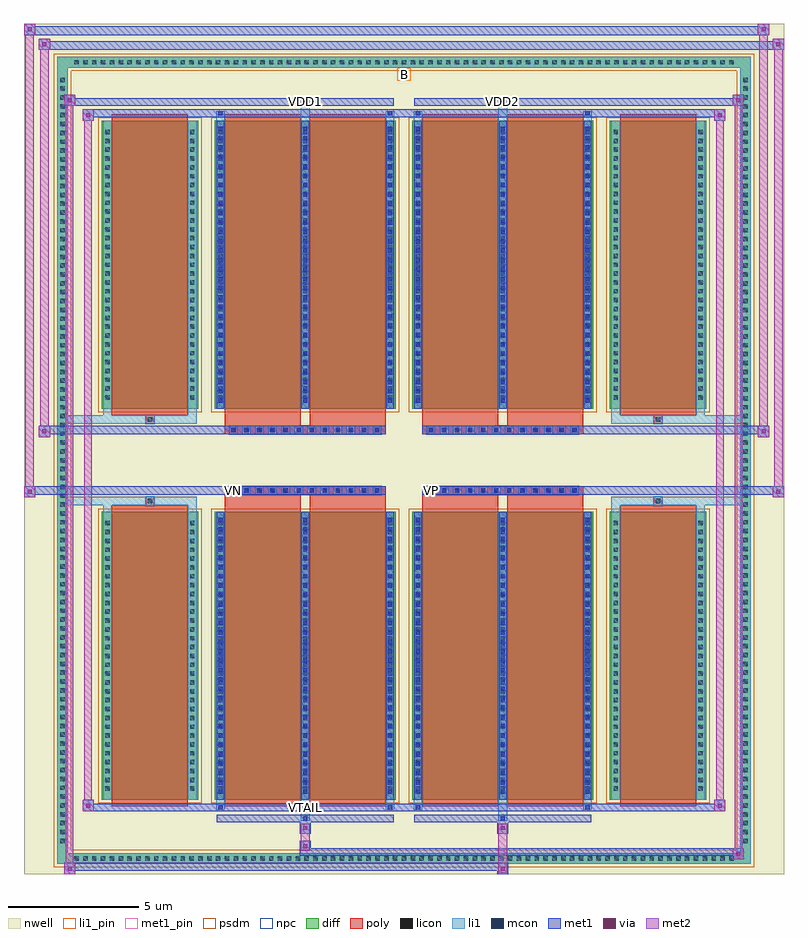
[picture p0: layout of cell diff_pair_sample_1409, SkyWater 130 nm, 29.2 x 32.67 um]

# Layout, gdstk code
import gdstk
lib = gdstk.Library(unit=1e-6, precision=5e-09)
def R(c, l, rs):  # rectangles x0, y0, x1, y1
    for r in rs: c.add(gdstk.rectangle(r[:2], r[2:], *l))
def A(c, l, x, y, w, h, nx, ny, dx, dy):  # array of equal rectangles
    R(c, l, [(x+i*dx, y+j*dy, x+i*dx+w, y+j*dy+h) for i in range(nx) for j in range(ny)])
def P(c, l, *ps):  # polygons
    for p in ps: c.add(gdstk.Polygon(p, *l))
nwell = (64, 20)
diff = (65, 20)
poly = (66, 20)
licon = (66, 44)
li1_pin = (67, 16)
li1 = (67, 20)
mcon = (67, 44)
met1_pin = (68, 16)
met1 = (68, 20)
via = (68, 44)
met2 = (69, 20)
psdm = (94, 20)
npc = (95, 20)

diff_pair_sample_1409 = lib.new_cell('diff_pair_sample_1409')
R(diff_pair_sample_1409, nwell, [(-14.6,-15.9,14.6,16.77), (-11.92,-14.09,-0.01,-0.795), (0.01,-14.09,11.92,-0.795), (-11.92,0.795,-0.01,14.09), (0.01,0.795,11.92,14.09)])
A(diff_pair_sample_1409, diff, -12.785, -15.5, 0.41, 0.41, 75, 2, 0.34, 30.59)
A(diff_pair_sample_1409, diff, -13.33, -14.825, 0.41, 0.41, 1, 87, 0, 0.34)
A(diff_pair_sample_1409, diff, 12.92, -14.825, 0.41, 0.41, 1, 87, 0, 0.34)
R(diff_pair_sample_1409, diff, [(-12.785,-15.5,12.785,-15.09), (-13.33,-14.825,-12.92,14.825), (12.92,-14.825,13.33,14.825), (-11.61,-13.045,-7.91,-1.985), (-7.27,-13.045,-0.32,-1.985), (0.32,-13.045,7.27,-1.985), (7.91,-13.045,11.61,-1.985), (-11.61,1.985,-7.91,13.045), (-7.27,1.985,-0.32,13.045), (0.32,1.985,7.27,13.045), (7.91,1.985,11.61,13.045), (-12.785,15.09,12.785,15.5)])
P(diff_pair_sample_1409, diff, [(13.33,15.5),(-13.33,15.5),(-13.33,-15.09),(-12.92,-15.09),(-12.92,15.09),(12.92,15.09),(12.92,-15.09),(-12.92,-15.09),(-13.33,-15.09),(-13.33,-15.5),(13.33,-15.5)])
A(diff_pair_sample_1409, poly, -6.71, -1.325, 0.33, 0.33, 12, 2, 0.5, 2.32)
A(diff_pair_sample_1409, poly, 0.88, -1.325, 0.33, 0.33, 12, 2, 0.5, 2.32)
R(diff_pair_sample_1409, poly, [(-11.22,-13.295,-8.3,-1.735), (-6.88,-13.295,-3.96,-1.735), (-3.63,-13.295,-0.71,-1.735), (0.71,-13.295,3.63,-1.735), (3.96,-13.295,6.88,-1.735), (8.3,-13.295,11.22,-1.735), (-9.925,-1.735,-9.595,-1.405), (-9.925,-1.735,-9.595,-1.405), (-6.88,-1.735,-3.96,-1.325), (-3.63,-1.735,-0.71,-1.325), (0.71,-1.735,3.63,-1.325), (3.96,-1.735,6.88,-1.325), (9.595,-1.735,9.925,-1.405), (9.595,-1.735,9.925,-1.405), (-6.88,-1.325,-0.71,-0.995), (0.71,-1.325,6.88,-0.995), (-6.88,0.995,-0.71,1.325), (0.71,0.995,6.88,1.325), (-6.88,1.325,-3.96,1.735), (-3.63,1.325,-0.71,1.735), (0.71,1.325,3.63,1.735), (3.96,1.325,6.88,1.735), (-9.925,1.405,-9.595,1.735), (-9.925,1.405,-9.595,1.735), (9.595,1.405,9.925,1.735), (9.595,1.405,9.925,1.735), (-11.22,1.735,-8.3,13.295), (-6.88,1.735,-3.96,13.295), (-3.63,1.735,-0.71,13.295), (0.71,1.735,3.63,13.295), (3.96,1.735,6.88,13.295), (8.3,1.735,11.22,13.295)])
A(diff_pair_sample_1409, licon, -12.665, -15.38, 0.17, 0.17, 75, 2, 0.34, 30.59)
A(diff_pair_sample_1409, licon, -13.21, -14.705, 0.17, 0.17, 1, 87, 0, 0.34)
A(diff_pair_sample_1409, licon, 13.04, -14.705, 0.17, 0.17, 1, 87, 0, 0.34)
A(diff_pair_sample_1409, licon, -11.47, -12.7, 0.17, 0.17, 1, 31, 0, 0.34)
A(diff_pair_sample_1409, licon, -8.22, -12.7, 0.17, 0.17, 1, 31, 0, 0.34)
A(diff_pair_sample_1409, licon, -7.13, -12.7, 0.17, 0.17, 3, 31, 3.25, 0.34)
A(diff_pair_sample_1409, licon, 0.46, -12.7, 0.17, 0.17, 3, 31, 3.25, 0.34)
A(diff_pair_sample_1409, licon, 8.05, -12.7, 0.17, 0.17, 1, 31, 0, 0.34)
A(diff_pair_sample_1409, licon, 11.3, -12.7, 0.17, 0.17, 1, 31, 0, 0.34)
A(diff_pair_sample_1409, licon, -6.63, -1.245, 0.17, 0.17, 12, 2, 0.5, 2.32)
A(diff_pair_sample_1409, licon, 0.96, -1.245, 0.17, 0.17, 12, 2, 0.5, 2.32)
A(diff_pair_sample_1409, licon, -11.47, 2.33, 0.17, 0.17, 1, 31, 0, 0.34)
A(diff_pair_sample_1409, licon, -8.22, 2.33, 0.17, 0.17, 1, 31, 0, 0.34)
A(diff_pair_sample_1409, licon, -7.13, 2.33, 0.17, 0.17, 3, 31, 3.25, 0.34)
A(diff_pair_sample_1409, licon, 0.46, 2.33, 0.17, 0.17, 3, 31, 3.25, 0.34)
A(diff_pair_sample_1409, licon, 8.05, 2.33, 0.17, 0.17, 1, 31, 0, 0.34)
A(diff_pair_sample_1409, licon, 11.3, 2.33, 0.17, 0.17, 1, 31, 0, 0.34)
R(diff_pair_sample_1409, licon, [(-9.845,-1.655,-9.675,-1.485), (9.675,-1.655,9.845,-1.485), (-9.845,1.485,-9.675,1.655), (9.675,1.485,9.845,1.655)])
R(diff_pair_sample_1409, li1_pin, [(-0.25,14.59,0.25,15.09)])
A(diff_pair_sample_1409, li1, -12.745, -15.46, 0.33, 0.33, 75, 2, 0.34, 30.59)
A(diff_pair_sample_1409, li1, -13.29, -14.785, 0.33, 0.33, 1, 87, 0, 0.34)
A(diff_pair_sample_1409, li1, 12.96, -14.785, 0.33, 0.33, 1, 87, 0, 0.34)
A(diff_pair_sample_1409, li1, -7.21, -13.045, 0.33, 11.06, 3, 2, 3.25, 15.03)
A(diff_pair_sample_1409, li1, 0.38, -13.045, 0.33, 11.06, 3, 2, 3.25, 15.03)
A(diff_pair_sample_1409, li1, -7.13, -12.82, 0.17, 0.17, 3, 30, 3.25, 0.36)
A(diff_pair_sample_1409, li1, -7.13, -12.82, 0.17, 10.61, 3, 2, 3.25, 15.03)
A(diff_pair_sample_1409, li1, 0.46, -12.82, 0.17, 0.17, 3, 30, 3.25, 0.36)
A(diff_pair_sample_1409, li1, 0.46, -12.82, 0.17, 10.61, 3, 2, 3.25, 15.03)
A(diff_pair_sample_1409, li1, -11.55, -12.78, 0.33, 0.33, 1, 31, 0, 0.34)
A(diff_pair_sample_1409, li1, -8.3, -12.78, 0.33, 0.33, 1, 31, 0, 0.34)
A(diff_pair_sample_1409, li1, -7.21, -12.78, 0.33, 0.33, 3, 31, 3.25, 0.34)
A(diff_pair_sample_1409, li1, 0.38, -12.78, 0.33, 0.33, 3, 31, 3.25, 0.34)
A(diff_pair_sample_1409, li1, 7.97, -12.78, 0.33, 0.33, 1, 31, 0, 0.34)
A(diff_pair_sample_1409, li1, 11.22, -12.78, 0.33, 0.33, 1, 31, 0, 0.34)
A(diff_pair_sample_1409, li1, -6.71, -1.325, 0.33, 0.33, 12, 2, 0.5, 2.32)
A(diff_pair_sample_1409, li1, 0.88, -1.325, 0.33, 0.33, 12, 2, 0.5, 2.32)
A(diff_pair_sample_1409, li1, -7.13, 2.21, 0.17, 0.17, 3, 30, 3.25, 0.36)
A(diff_pair_sample_1409, li1, 0.46, 2.21, 0.17, 0.17, 3, 30, 3.25, 0.36)
A(diff_pair_sample_1409, li1, -11.55, 2.25, 0.33, 0.33, 1, 31, 0, 0.34)
A(diff_pair_sample_1409, li1, -8.3, 2.25, 0.33, 0.33, 1, 31, 0, 0.34)
A(diff_pair_sample_1409, li1, -7.21, 2.25, 0.33, 0.33, 3, 31, 3.25, 0.34)
A(diff_pair_sample_1409, li1, 0.38, 2.25, 0.33, 0.33, 3, 31, 3.25, 0.34)
A(diff_pair_sample_1409, li1, 7.97, 2.25, 0.33, 0.33, 1, 31, 0, 0.34)
A(diff_pair_sample_1409, li1, 11.22, 2.25, 0.33, 0.33, 1, 31, 0, 0.34)
R(diff_pair_sample_1409, li1, [(-13.33,-15.5,-12.92,-15.09), (-13.33,-15.5,-12.92,-15.09), (-12.92,-15.5,12.92,-15.09), (12.92,-15.5,13.33,-15.09), (12.92,-15.5,13.33,-15.09), (-13.33,-15.09,-12.92,15.09), (12.92,-15.09,13.33,15.09), (-3.96,-13.85,-3.63,-13.045), (-3.88,-13.85,-3.71,-13.68), (3.63,-13.85,3.96,-13.045), (3.71,-13.85,3.88,-13.68), (-7.21,-13.42,-6.88,-13.045), (-7.13,-13.42,-6.96,-13.25), (-0.71,-13.42,-0.38,-13.045), (-0.63,-13.42,-0.46,-13.25), (0.38,-13.42,0.71,-13.045), (0.46,-13.42,0.63,-13.25), (6.88,-13.42,7.21,-13.045), (6.96,-13.42,7.13,-13.25), (-11.55,-13.045,-11.22,-1.985), (-8.3,-13.045,-7.97,-1.985), (7.97,-13.045,8.3,-1.985), (11.22,-13.045,11.55,-1.985), (-11.55,-1.985,-11.22,-1.405), (-8.3,-1.985,-7.97,-1.405), (7.97,-1.985,8.3,-1.405), (11.22,-1.985,11.55,-1.405), (-13.33,-1.735,-9.925,-1.405), (-11.55,-1.735,-9.925,-1.405), (-9.925,-1.735,-9.595,-1.405), (-9.595,-1.735,-7.97,-1.405), (7.97,-1.735,9.595,-1.405), (9.595,-1.735,9.925,-1.405), (9.595,-1.735,13.33,-1.405), (9.925,-1.735,11.55,-1.405), (-13.33,1.405,-9.925,1.735), (-11.55,1.405,-9.925,1.735), (-11.55,1.405,-11.22,1.985), (-9.925,1.405,-9.595,1.735), (-9.595,1.405,-7.97,1.735), (-8.3,1.405,-7.97,1.985), (7.97,1.405,9.595,1.735), (7.97,1.405,8.3,1.985), (9.595,1.405,9.925,1.735), (9.595,1.405,13.33,1.735), (9.925,1.405,11.55,1.735), (11.22,1.405,11.55,1.985), (-11.55,1.985,-11.22,13.045), (-8.3,1.985,-7.97,13.045), (7.97,1.985,8.3,13.045), (11.22,1.985,11.55,13.045), (-7.21,13.045,-6.88,13.42), (-3.96,13.045,-3.63,13.85), (-0.71,13.045,-0.38,13.42), (0.38,13.045,0.71,13.42), (3.63,13.045,3.96,13.85), (6.88,13.045,7.21,13.42), (-7.13,13.25,-6.96,13.42), (-0.63,13.25,-0.46,13.42), (0.46,13.25,0.63,13.42), (6.96,13.25,7.13,13.42), (-3.88,13.68,-3.71,13.85), (3.71,13.68,3.88,13.85), (-13.33,15.09,-12.92,15.5), (-13.33,15.09,-12.92,15.5), (-12.92,15.09,12.92,15.5), (12.92,15.09,13.33,15.5), (12.92,15.09,13.33,15.5)])
A(diff_pair_sample_1409, mcon, -7.13, -12.82, 0.17, 0.17, 3, 30, 3.25, 0.36)
A(diff_pair_sample_1409, mcon, 0.46, -12.82, 0.17, 0.17, 3, 30, 3.25, 0.36)
A(diff_pair_sample_1409, mcon, -6.63, -1.245, 0.17, 0.17, 12, 2, 0.5, 2.32)
A(diff_pair_sample_1409, mcon, 0.96, -1.245, 0.17, 0.17, 12, 2, 0.5, 2.32)
A(diff_pair_sample_1409, mcon, -7.13, 2.21, 0.17, 0.17, 3, 30, 3.25, 0.36)
A(diff_pair_sample_1409, mcon, 0.46, 2.21, 0.17, 0.17, 3, 30, 3.25, 0.36)
R(diff_pair_sample_1409, mcon, [(-3.88,-13.85,-3.71,-13.68), (3.71,-13.85,3.88,-13.68), (-7.13,-13.42,-6.96,-13.25), (-0.63,-13.42,-0.46,-13.25), (0.46,-13.42,0.63,-13.25), (6.96,-13.42,7.13,-13.25), (-7.13,13.25,-6.96,13.42), (-0.63,13.25,-0.46,13.42), (0.46,13.25,0.63,13.42), (6.96,13.25,7.13,13.42), (-3.88,13.68,-3.71,13.85), (3.71,13.68,3.88,13.85)])
R(diff_pair_sample_1409, met1_pin, [(-3.93,-13.46,-3.66,-13.19), (-6.68,-1.285,-6.41,-1.015), (0.91,-1.285,1.18,-1.015), (-3.93,13.64,-3.66,13.91), (3.66,13.64,3.93,13.91)])
A(diff_pair_sample_1409, met1, -7.19, -13.045, 0.29, 11.06, 3, 2, 3.25, 15.03)
A(diff_pair_sample_1409, met1, 0.4, -13.045, 0.29, 11.06, 3, 2, 3.25, 15.03)
A(diff_pair_sample_1409, met1, -7.19, -12.88, 0.29, 0.29, 3, 30, 3.25, 0.36)
A(diff_pair_sample_1409, met1, 0.4, -12.88, 0.29, 0.29, 3, 30, 3.25, 0.36)
A(diff_pair_sample_1409, met1, -6.69, -1.305, 0.29, 0.29, 12, 2, 0.5, 2.32)
A(diff_pair_sample_1409, met1, 0.9, -1.305, 0.29, 0.29, 12, 2, 0.5, 2.32)
A(diff_pair_sample_1409, met1, -7.19, 2.15, 0.29, 0.29, 3, 30, 3.25, 0.36)
A(diff_pair_sample_1409, met1, 0.4, 2.15, 0.29, 0.29, 3, 30, 3.25, 0.36)
R(diff_pair_sample_1409, met1, [(-13.06,-15.9,-12.63,-15.47), (3.58,-15.9,4.01,-15.47), (-13.06,-15.76,4.01,-15.47), (12.63,-15.33,13.06,-14.9), (-4.01,-15.19,13.06,-14.9), (-4.01,-15.05,-3.58,-14.62), (-4.01,-14.34,-3.58,-13.91), (3.58,-14.34,4.01,-13.91), (-7.19,-13.91,-0.4,-13.62), (-3.94,-13.91,-3.65,-13.62), (0.4,-13.91,7.19,-13.62), (3.65,-13.91,3.94,-13.62), (-12.35,-13.48,-11.92,-13.05), (-12.35,-13.48,-7.19,-13.19), (-7.19,-13.48,-6.9,-13.19), (-7.19,-13.48,-0.4,-13.19), (-0.69,-13.48,-0.4,-13.19), (-0.4,-13.48,0.4,-13.19), (0.4,-13.48,0.69,-13.19), (0.4,-13.48,7.19,-13.19), (6.9,-13.48,7.19,-13.19), (7.19,-13.48,12.35,-13.19), (11.92,-13.48,12.35,-13.05), (-14.6,-1.425,-14.17,-0.995), (14.17,-1.425,14.6,-0.995), (-14.6,-1.325,-0.71,-0.995), (-6.88,-1.325,-0.71,-0.995), (0.71,-1.325,6.88,-0.995), (0.71,-1.325,14.6,-0.995), (-14.03,0.895,-13.6,1.325), (13.6,0.895,14.03,1.325), (-14.03,0.995,-6.88,1.325), (-6.88,0.995,-0.71,1.325), (0.71,0.995,6.88,1.325), (6.88,0.995,14.03,1.325), (-12.35,13.05,-11.92,13.48), (11.92,13.05,12.35,13.48), (-12.35,13.19,-7.19,13.48), (-7.19,13.19,-6.9,13.48), (-7.19,13.19,-0.4,13.48), (-0.69,13.19,-0.4,13.48), (-0.4,13.19,0.4,13.48), (0.4,13.19,0.69,13.48), (0.4,13.19,7.19,13.48), (6.9,13.19,7.19,13.48), (7.19,13.19,12.35,13.48), (-13.06,13.62,-12.63,14.05), (-13.06,13.62,-7.19,13.91), (-7.19,13.62,-0.4,13.91), (-3.94,13.62,-3.65,13.91), (0.4,13.62,7.19,13.91), (3.65,13.62,3.94,13.91), (7.19,13.62,13.06,13.91), (12.63,13.62,13.06,14.05), (-14.03,15.77,-13.6,16.2), (-14.03,15.77,-11.92,16.1), (-11.92,15.77,11.92,16.1), (11.92,15.77,14.6,16.1), (14.17,15.77,14.6,16.2), (-14.6,16.34,-14.17,16.77), (-14.6,16.34,-11.92,16.67), (-11.92,16.34,11.92,16.67), (11.92,16.34,14.03,16.67), (13.6,16.34,14.03,16.77)])
R(diff_pair_sample_1409, via, [(-12.92,-15.76,-12.77,-15.61), (3.72,-15.76,3.87,-15.61), (12.77,-15.19,12.92,-15.04), (-3.87,-14.91,-3.72,-14.76), (-3.87,-14.2,-3.72,-14.05), (3.72,-14.2,3.87,-14.05), (-12.21,-13.34,-12.06,-13.19), (12.06,-13.34,12.21,-13.19), (-14.46,-1.285,-14.31,-1.135), (14.31,-1.285,14.46,-1.135), (-13.89,1.035,-13.74,1.185), (13.74,1.035,13.89,1.185), (-12.21,13.19,-12.06,13.34), (12.06,13.19,12.21,13.34), (-12.92,13.76,-12.77,13.91), (12.77,13.76,12.92,13.91), (-13.89,15.91,-13.74,16.06), (14.31,15.91,14.46,16.06), (-14.46,16.48,-14.31,16.63), (13.74,16.48,13.89,16.63)])
R(diff_pair_sample_1409, met2, [(-13.06,-15.9,-12.63,-15.47), (-12.99,-15.9,-12.7,14.05), (-12.7,-15.9,-12.63,-15.47), (-13.01,-15.85,-12.68,-15.52), (3.63,-15.85,3.96,-15.52), (3.63,-15.52,3.96,-14.29), (12.63,-15.33,13.06,-14.9), (12.7,-15.33,12.99,14.05), (12.99,-15.33,13.06,-14.9), (12.68,-15.28,13.01,-14.95), (-3.96,-15,-3.63,-14.67), (-3.96,-14.67,-3.63,-14.29), (-3.96,-14.29,-3.63,-13.96), (3.63,-14.29,3.96,-13.96), (-12.35,-13.48,-11.92,-13.05), (-12.28,-13.48,-11.99,13.48), (-11.99,-13.48,-11.92,-13.05), (11.92,-13.48,12.35,-13.05), (11.99,-13.48,12.28,13.48), (12.28,-13.48,12.35,-13.05), (-12.3,-13.43,-11.97,-13.1), (11.97,-13.43,12.3,-13.1), (-14.6,-1.425,-14.17,-0.995), (-14.55,-1.425,-14.22,16.77), (-14.22,-1.425,-14.17,-0.995), (14.17,-1.425,14.6,-0.995), (14.22,-1.425,14.55,16.2), (14.55,-1.425,14.6,-0.995), (-14.55,-1.375,-14.22,-1.045), (14.22,-1.375,14.55,-1.045), (-14.03,0.895,-13.6,1.325), (-13.98,0.895,-13.65,16.2), (-13.65,0.895,-13.6,1.325), (13.6,0.895,14.03,1.325), (13.65,0.895,13.98,16.77), (13.98,0.895,14.03,1.325), (-13.98,0.945,-13.65,1.275), (13.65,0.945,13.98,1.275), (-12.35,13.05,-11.92,13.48), (-11.99,13.05,-11.92,13.48), (11.92,13.05,12.35,13.48), (12.28,13.05,12.35,13.48), (-12.3,13.1,-11.97,13.43), (11.97,13.1,12.3,13.43), (-13.06,13.62,-12.63,14.05), (-12.7,13.62,-12.63,14.05), (12.63,13.62,13.06,14.05), (12.99,13.62,13.06,14.05), (-13.01,13.67,-12.68,14), (12.68,13.67,13.01,14), (-14.03,15.77,-13.6,16.2), (-13.65,15.77,-13.6,16.2), (14.17,15.77,14.6,16.2), (14.55,15.77,14.6,16.2), (-13.98,15.82,-13.65,16.15), (14.22,15.82,14.55,16.15), (-14.6,16.34,-14.17,16.77), (-14.22,16.34,-14.17,16.77), (13.6,16.34,14.03,16.77), (13.98,16.34,14.03,16.77), (-14.55,16.39,-14.22,16.72), (13.65,16.39,13.98,16.72)])
R(diff_pair_sample_1409, psdm, [(-11.74,-13.175,-7.78,-1.855), (-7.4,-13.175,-0.19,-1.855), (0.19,-13.175,7.4,-1.855), (7.78,-13.175,11.74,-1.855), (-11.74,1.855,-7.78,13.175), (-7.4,1.855,-0.19,13.175), (0.19,1.855,7.4,13.175), (7.78,1.855,11.74,13.175)])
P(diff_pair_sample_1409, psdm, [(13.46,15.63),(-13.46,15.63),(-13.46,-14.96),(-12.79,-14.96),(-12.79,14.96),(12.79,14.96),(12.79,-14.96),(-12.79,-14.96),(-13.46,-14.96),(-13.46,-15.63),(13.46,-15.63)])
A(diff_pair_sample_1409, npc, -6.73, -1.345, 0.37, 0.37, 12, 2, 0.5, 2.32)
A(diff_pair_sample_1409, npc, 0.86, -1.345, 0.37, 0.37, 12, 2, 0.5, 2.32)
R(diff_pair_sample_1409, npc, [(-9.945,-1.755,-9.575,-1.385), (9.575,-1.755,9.945,-1.385), (-6.73,-1.345,-5.86,-0.975), (-6.73,-1.345,-5.86,-0.975), (-6.23,-1.345,-5.36,-0.975), (-6.23,-1.345,-5.36,-0.975), (-5.73,-1.345,-4.86,-0.975), (-5.73,-1.345,-4.86,-0.975), (-5.23,-1.345,-4.36,-0.975), (-5.23,-1.345,-4.36,-0.975), (-4.73,-1.345,-3.86,-0.975), (-4.73,-1.345,-3.86,-0.975), (-4.23,-1.345,-3.36,-0.975), (-4.23,-1.345,-3.36,-0.975), (-3.73,-1.345,-2.86,-0.975), (-3.73,-1.345,-2.86,-0.975), (-3.23,-1.345,-2.36,-0.975), (-3.23,-1.345,-2.36,-0.975), (-2.73,-1.345,-1.86,-0.975), (-2.73,-1.345,-1.86,-0.975), (-2.23,-1.345,-1.36,-0.975), (-2.23,-1.345,-1.36,-0.975), (-1.73,-1.345,-0.86,-0.975), (-1.73,-1.345,-0.86,-0.975), (0.86,-1.345,1.73,-0.975), (0.86,-1.345,1.73,-0.975), (1.36,-1.345,2.23,-0.975), (1.36,-1.345,2.23,-0.975), (1.86,-1.345,2.73,-0.975), (1.86,-1.345,2.73,-0.975), (2.36,-1.345,3.23,-0.975), (2.36,-1.345,3.23,-0.975), (2.86,-1.345,3.73,-0.975), (2.86,-1.345,3.73,-0.975), (3.36,-1.345,4.23,-0.975), (3.36,-1.345,4.23,-0.975), (3.86,-1.345,4.73,-0.975), (3.86,-1.345,4.73,-0.975), (4.36,-1.345,5.23,-0.975), (4.36,-1.345,5.23,-0.975), (4.86,-1.345,5.73,-0.975), (4.86,-1.345,5.73,-0.975), (5.36,-1.345,6.23,-0.975), (5.36,-1.345,6.23,-0.975), (5.86,-1.345,6.73,-0.975), (5.86,-1.345,6.73,-0.975), (-6.73,0.975,-5.86,1.345), (-6.73,0.975,-5.86,1.345), (-6.23,0.975,-5.36,1.345), (-6.23,0.975,-5.36,1.345), (-5.73,0.975,-4.86,1.345), (-5.73,0.975,-4.86,1.345), (-5.23,0.975,-4.36,1.345), (-5.23,0.975,-4.36,1.345), (-4.73,0.975,-3.86,1.345), (-4.73,0.975,-3.86,1.345), (-4.23,0.975,-3.36,1.345), (-4.23,0.975,-3.36,1.345), (-3.73,0.975,-2.86,1.345), (-3.73,0.975,-2.86,1.345), (-3.23,0.975,-2.36,1.345), (-3.23,0.975,-2.36,1.345), (-2.73,0.975,-1.86,1.345), (-2.73,0.975,-1.86,1.345), (-2.23,0.975,-1.36,1.345), (-2.23,0.975,-1.36,1.345), (-1.73,0.975,-0.86,1.345), (-1.73,0.975,-0.86,1.345), (0.86,0.975,1.73,1.345), (0.86,0.975,1.73,1.345), (1.36,0.975,2.23,1.345), (1.36,0.975,2.23,1.345), (1.86,0.975,2.73,1.345), (1.86,0.975,2.73,1.345), (2.36,0.975,3.23,1.345), (2.36,0.975,3.23,1.345), (2.86,0.975,3.73,1.345), (2.86,0.975,3.73,1.345), (3.36,0.975,4.23,1.345), (3.36,0.975,4.23,1.345), (3.86,0.975,4.73,1.345), (3.86,0.975,4.73,1.345), (4.36,0.975,5.23,1.345), (4.36,0.975,5.23,1.345), (4.86,0.975,5.73,1.345), (4.86,0.975,5.73,1.345), (5.36,0.975,6.23,1.345), (5.36,0.975,6.23,1.345), (5.86,0.975,6.73,1.345), (5.86,0.975,6.73,1.345), (-9.945,1.385,-9.575,1.755), (9.575,1.385,9.945,1.755)])
diff_pair_sample_1409.add(gdstk.Label('VTAIL', (-3.795,-13.325), layer=68, texttype=5))
diff_pair_sample_1409.add(gdstk.Label('VN', (-6.545,-1.15), layer=68, texttype=5))
diff_pair_sample_1409.add(gdstk.Label('VP', (1.045,-1.15), layer=68, texttype=5))
diff_pair_sample_1409.add(gdstk.Label('B', (0,14.84), layer=67, texttype=5))
diff_pair_sample_1409.add(gdstk.Label('VDD2', (3.795,13.775), layer=68, texttype=5))
diff_pair_sample_1409.add(gdstk.Label('VDD1', (-3.795,13.775), layer=68, texttype=5))

lib.write_gds('diff_pair_sample_1409.gds')
